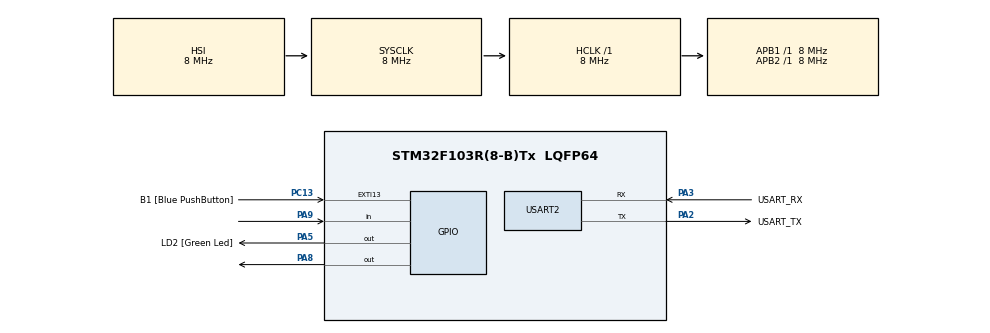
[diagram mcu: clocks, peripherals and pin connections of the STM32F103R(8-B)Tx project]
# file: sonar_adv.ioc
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Mcu.Family=STM32F1
Mcu.Name=STM32F103R(8-B)Tx
Mcu.Package=LQFP64
NVIC.EXTI15_10_IRQn=true\:0\:0\:false\:false\:true\:true\:true\:true
NVIC.PriorityGroup=NVIC_PRIORITYGROUP_4
NVIC.TIM1_CC_IRQn=true\:0\:0\:false\:false\:true\:true\:true\:true
NVIC.TIM1_UP_IRQn=true\:0\:0\:false\:false\:true\:true\:true\:true
PA13.GPIO_Label=TMS
PA13.Mode=Serial_Wire
PA13.Signal=SYS_JTMS-SWDIO
PA14.GPIO_Label=TCK
PA14.Mode=Serial_Wire
PA14.Signal=SYS_JTCK-SWCLK
PA2.GPIO_Label=USART_TX
PA2.GPIO_Mode=GPIO_MODE_AF_PP
PA2.GPIO_PuPd=GPIO_NOPULL
PA2.GPIO_Speed=GPIO_SPEED_FREQ_LOW
PA2.Mode=Asynchronous
PA2.Signal=USART2_TX
PA3.GPIO_Label=USART_RX
PA3.GPIO_Mode=GPIO_MODE_AF_PP
PA3.GPIO_PuPd=GPIO_NOPULL
PA3.GPIO_Speed=GPIO_SPEED_FREQ_LOW
PA3.Mode=Asynchronous
PA3.Signal=USART2_RX
PA5.GPIO_Label=LD2 [Green Led]
PA5.GPIO_ModeDefaultOutputPP=GPIO_MODE_OUTPUT_PP
PA5.GPIO_PuPd=GPIO_NOPULL
PA5.GPIO_Speed=GPIO_SPEED_FREQ_LOW
PA5.Signal=GPIO_Output
PA8.Signal=GPIO_Output
PA9.Signal=GPIO_Input
PB3.GPIO_Label=SWO
PB3.Signal=SYS_JTDO-TRACESWO
PC13-TAMPER-RTC.GPIO_Label=B1 [Blue PushButton]
PC13-TAMPER-RTC.GPIO_PuPd=GPIO_NOPULL
PC13-TAMPER-RTC.Signal=GPXTI13
PC14-OSC32_IN.Mode=LSE-External-Oscillator
PC14-OSC32_IN.Signal=RCC_OSC32_IN
PC15-OSC32_OUT.Mode=LSE-External-Oscillator
PC15-OSC32_OUT.Signal=RCC_OSC32_OUT
PD0-OSC_IN.Mode=HSE-External-Clock-Source
PD0-OSC_IN.Signal=RCC_OSC_IN
PD1-OSC_OUT.Mode=HSE-External-Clock-Source
PD1-OSC_OUT.Signal=RCC_OSC_OUT
ProjectManager.HeapSize=0x200
ProjectManager.StackSize=0x400
ProjectManager.TargetToolchain=STM32CubeIDE
RCC.AHBFreq_Value=8000000
RCC.APB1Freq_Value=8000000
RCC.APB1TimFreq_Value=8000000
RCC.APB2Freq_Value=8000000
RCC.APB2TimFreq_Value=8000000
RCC.HCLKFreq_Value=8000000
RCC.PLLMUL=RCC_PLL_MUL16
RCC.RTCClockSelection=RCC_RTCCLKSOURCE_LSE
RCC.SYSCLKFreq_VALUE=8000000
RCC.USBFreq_Value=64000000
USART2.VirtualMode=VM_ASYNC
VP_TIM1_VS_ClockSourceINT.Mode=Internal
board=NUCLEO-F103RB

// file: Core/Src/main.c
/* USER CODE BEGIN Header */
/**
  ******************************************************************************
  * @file           : main.c
  * @brief          : Main program body
  ******************************************************************************
  * @attention
  *
  * Copyright (c) 2024 STMicroelectronics.
  * All rights reserved.
  *
  * This software is licensed under terms that can be found in the LICENSE file
  * in the root directory of this software component.
  * If no LICENSE file comes with this software, it is provided AS-IS.
  *
  ******************************************************************************
  */
/* USER CODE END Header */
#include "main.h"
#include "tim.h"
#include "usart.h"
#include "gpio.h"

/* USER CODE BEGIN Includes */
#include <stdio.h>
/* USER CODE END Includes */

void SystemClock_Config(void);
/* USER CODE BEGIN PFP */
#ifdef __GNUC__
#define PUTCHAR_PROTOTYPE int __io_putchar(int ch)
#else
#define PUTCHAR_PROTOTYPE int fputc(int ch, FILE *f)
#endif

PUTCHAR_PROTOTYPE
{
  HAL_UART_Transmit(&huart2, (uint8_t *)&ch, 1, HAL_MAX_DELAY);
  return ch;
}
/* USER CODE END PFP */

/* USER CODE BEGIN 0 */
uint32_t overflows = 0U;

void HAL_TIM_PeriodElapsedCallback(TIM_HandleTypeDef *htim) { // 제네레이트 없음
	if(htim->Instance == TIM1) {
		overflows++;
	}
}

uint32_t GetMicroSec(void){ // 제네레이트 없음
	uint32_t count = __HAL_TIM_GET_COUNTER(&htim1);
	uint32_t overflow = overflows;
	if (__HAL_TIM_GET_FLAG(&htim1, TIM_FLAG_UPDATE) && (count < 0x8000)) {
	        overflow++;
	}

	return(overflow << 16) + count;
}

/* USER CODE END 0 */

int main(void)
{

  /* MCU Configuration--------------------------------------------------------*/

  /* Reset of all peripherals, Initializes the Flash interface and the Systick. */
  HAL_Init();

  /* Configure the system clock */
  SystemClock_Config();

  /* Initialize all configured peripherals */
  MX_GPIO_Init();
  MX_USART2_UART_Init();
  MX_TIM1_Init();

  /* Infinite loop */
  /* USER CODE BEGIN WHILE */
  HAL_TIM_Base_Init(&htim1);         // 제네레이트 없음
  __HAL_TIM_SET_COUNTER(&htim1, 0);  // 제네레이트 없음
  HAL_TIM_Base_Start_IT(&htim1);     // 제네레이트 없음

  uint32_t st;
  uint32_t ed;
  uint32_t diff;
  float distance;

  while (1)
  {
    /* USER CODE END WHILE */

    /* USER CODE BEGIN 3 */
	  //printf("Hello World~~!\r\n");

	  //uint32_t start = GetMicroSec();
	  //HAL_Delay(100);
	  //uint32_t end = GetMicroSec();
	  //printf("\r\n diff : %lu \r\n", end - start);

	  // GPIO를 쓰거나 읽는 방법 예시
	  //HAL_GPIO_WritePin(GPIOA, GPIO_PIN_8, SET);
	  // HAL_GPIO_ReadPin(GPIOA, GPIO_PIN_9)==GPIO_PIN_SET

	  HAL_GPIO_WritePin(GPIOA, GPIO_PIN_8, RESET);
	  HAL_Delay(5);
	  HAL_GPIO_WritePin(GPIOA, GPIO_PIN_8, SET);
	  HAL_Delay(20);
	  HAL_GPIO_WritePin(GPIOA, GPIO_PIN_8, RESET);

	  //printf("right after : %lu\r\n", HAL_GPIO_ReadPin(GPIOA, GPIO_PIN_9));

	  while(HAL_GPIO_ReadPin(GPIOA, GPIO_PIN_9)==GPIO_PIN_RESET);
	  st = GetMicroSec();
	  while(HAL_GPIO_ReadPin(GPIOA, GPIO_PIN_9)==GPIO_PIN_SET);
	  ed = GetMicroSec();

	  diff = ed -st;
	  distance = diff * 0.034 /2;
	  printf("%.3f\r\n", distance);

	  HAL_Delay(1000);
  }
  /* USER CODE END 3 */
}

void SystemClock_Config(void)
{
  RCC_OscInitTypeDef RCC_OscInitStruct = {0};
  RCC_ClkInitTypeDef RCC_ClkInitStruct = {0};

  /** Initializes the RCC Oscillators according to the specified parameters
  * in the RCC_OscInitTypeDef structure.
  */
  RCC_OscInitStruct.OscillatorType = RCC_OSCILLATORTYPE_HSI;
  RCC_OscInitStruct.HSIState = RCC_HSI_ON;
  RCC_OscInitStruct.HSICalibrationValue = RCC_HSICALIBRATION_DEFAULT;
  RCC_OscInitStruct.PLL.PLLState = RCC_PLL_NONE;
  if (HAL_RCC_OscConfig(&RCC_OscInitStruct) != HAL_OK)
  {
    Error_Handler();
  }

  /** Initializes the CPU, AHB and APB buses clocks
  */
  RCC_ClkInitStruct.ClockType = RCC_CLOCKTYPE_HCLK|RCC_CLOCKTYPE_SYSCLK
                              |RCC_CLOCKTYPE_PCLK1|RCC_CLOCKTYPE_PCLK2;
  RCC_ClkInitStruct.SYSCLKSource = RCC_SYSCLKSOURCE_HSI;
  RCC_ClkInitStruct.AHBCLKDivider = RCC_SYSCLK_DIV1;
  RCC_ClkInitStruct.APB1CLKDivider = RCC_HCLK_DIV1;
  RCC_ClkInitStruct.APB2CLKDivider = RCC_HCLK_DIV1;

  if (HAL_RCC_ClockConfig(&RCC_ClkInitStruct, FLASH_LATENCY_0) != HAL_OK)
  {
    Error_Handler();
  }
}

void Error_Handler(void)
{
  __disable_irq();
  while (1)
  {
  }
}
